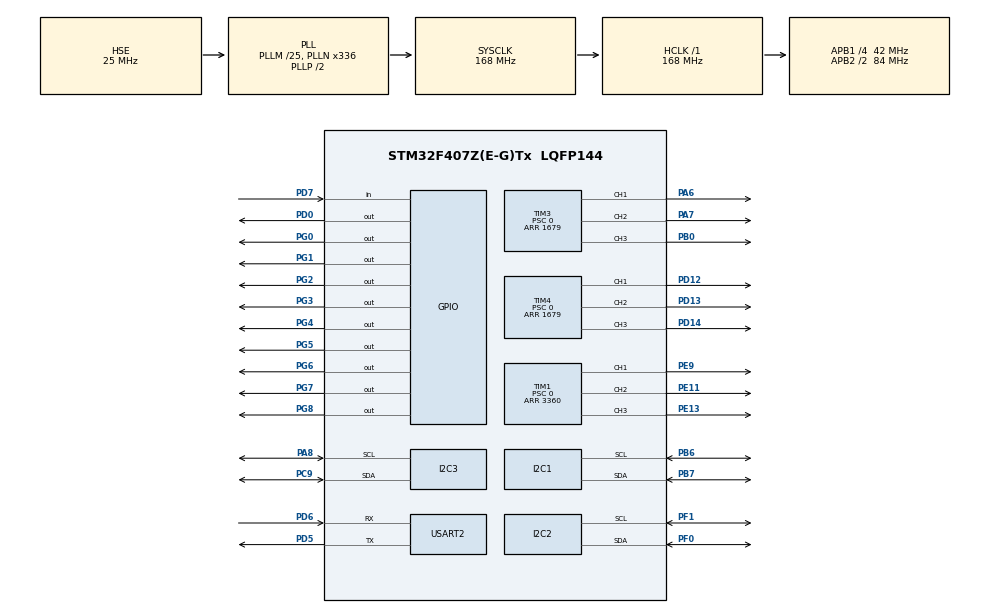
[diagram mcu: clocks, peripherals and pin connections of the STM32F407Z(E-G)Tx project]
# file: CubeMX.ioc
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I2C1.I2C_Mode=I2C_Fast
I2C2.I2C_Mode=I2C_Fast
I2C3.I2C_Mode=I2C_Fast
Mcu.Family=STM32F4
Mcu.Name=STM32F407Z(E-G)Tx
Mcu.Package=LQFP144
NVIC.PriorityGroup=NVIC_PRIORITYGROUP_4
NVIC.USART2_IRQn=true\:0\:0\:false\:false\:true\:true\:true\:true
PA13.Mode=Serial_Wire
PA13.Signal=SYS_JTMS-SWDIO
PA14.Mode=Serial_Wire
PA14.Signal=SYS_JTCK-SWCLK
PA6.Signal=S_TIM3_CH1
PA7.Signal=S_TIM3_CH2
PA8.GPIO_Pu=GPIO_PULLUP
PA8.GPIO_Speed=GPIO_SPEED_FREQ_LOW
PA8.Mode=I2C
PA8.Signal=I2C3_SCL
PB0.Signal=S_TIM3_CH3
PB6.GPIO_Pu=GPIO_PULLUP
PB6.GPIO_Speed=GPIO_SPEED_FREQ_LOW
PB6.Mode=I2C
PB6.Signal=I2C1_SCL
PB7.GPIO_Pu=GPIO_PULLUP
PB7.GPIO_Speed=GPIO_SPEED_FREQ_LOW
PB7.Mode=I2C
PB7.Signal=I2C1_SDA
PC9.GPIO_Pu=GPIO_PULLUP
PC9.GPIO_Speed=GPIO_SPEED_FREQ_LOW
PC9.Mode=I2C
PC9.Signal=I2C3_SDA
PD0.GPIO_Pu=GPIO_NOPULL
PD0.GPIO_Speed=GPIO_SPEED_FREQ_LOW
PD0.Signal=GPIO_Output
PD12.Signal=S_TIM4_CH1
PD13.Signal=S_TIM4_CH2
PD14.Signal=S_TIM4_CH3
PD5.Mode=Asynchronous
PD5.Signal=USART2_TX
PD6.Mode=Asynchronous
PD6.Signal=USART2_RX
PD7.Signal=GPIO_Input
PE11.Signal=S_TIM1_CH2
PE13.Signal=S_TIM1_CH3
PE9.Signal=S_TIM1_CH1
PF0.GPIO_Pu=GPIO_PULLUP
PF0.GPIO_Speed=GPIO_SPEED_FREQ_LOW
PF0.Mode=I2C
PF0.Signal=I2C2_SDA
PF1.GPIO_Pu=GPIO_PULLUP
PF1.GPIO_Speed=GPIO_SPEED_FREQ_LOW
PF1.Mode=I2C
PF1.Signal=I2C2_SCL
PG0.Signal=GPIO_Output
PG1.Signal=GPIO_Output
PG2.Signal=GPIO_Output
PG3.Signal=GPIO_Output
PG4.Signal=GPIO_Output
PG5.Signal=GPIO_Output
PG6.Signal=GPIO_Output
PG7.Signal=GPIO_Output
PG8.Signal=GPIO_Output
PH0-OSC_IN.Mode=HSE-External-Oscillator
PH0-OSC_IN.Signal=RCC_OSC_IN
PH1-OSC_OUT.Mode=HSE-External-Oscillator
PH1-OSC_OUT.Signal=RCC_OSC_OUT
ProjectManager.HeapSize=0x200
ProjectManager.StackSize=0x400
ProjectManager.TargetToolchain=MDK-ARM V5.32
RCC.48MHZClocksFreq_Value=84000000
RCC.AHBFreq_Value=168000000
RCC.APB1CLKDivider=RCC_HCLK_DIV4
RCC.APB1Freq_Value=42000000
RCC.APB1TimFreq_Value=84000000
RCC.APB2CLKDivider=RCC_HCLK_DIV2
RCC.APB2Freq_Value=84000000
RCC.APB2TimFreq_Value=168000000
RCC.CortexFreq_Value=168000000
RCC.HCLKFreq_Value=168000000
RCC.HSE_VALUE=25000000
RCC.HSI_VALUE=16000000
RCC.LSE_VALUE=32768
RCC.PLLM=25
RCC.PLLN=336
RCC.PLLSourceVirtual=RCC_PLLSOURCE_HSE
RCC.SYSCLKFreq_VALUE=168000000
RCC.SYSCLKSource=RCC_SYSCLKSOURCE_PLLCLK
RCC.VCOOutputFreq_Value=336000000
SH.S_TIM1_CH1.0=TIM1_CH1,PWM Generation1 CH1
SH.S_TIM1_CH2.0=TIM1_CH2,PWM Generation2 CH2
SH.S_TIM1_CH3.0=TIM1_CH3,PWM Generation3 CH3
SH.S_TIM3_CH1.0=TIM3_CH1,PWM Generation1 CH1
SH.S_TIM3_CH2.0=TIM3_CH2,PWM Generation2 CH2
SH.S_TIM3_CH3.0=TIM3_CH3,PWM Generation3 CH3
SH.S_TIM4_CH1.0=TIM4_CH1,PWM Generation1 CH1
SH.S_TIM4_CH2.0=TIM4_CH2,PWM Generation2 CH2
SH.S_TIM4_CH3.0=TIM4_CH3,PWM Generation3 CH3
TIM1.AutoReloadPreload=TIM_AUTORELOAD_PRELOAD_ENABLE
TIM1.Channel-PWM\ Generation1\ CH1=TIM_CHANNEL_1
TIM1.Channel-PWM\ Generation2\ CH2=TIM_CHANNEL_2
TIM1.Channel-PWM\ Generation3\ CH3=TIM_CHANNEL_3
TIM1.CounterMode=TIM_COUNTERMODE_CENTERALIGNED1
TIM1.Period=3360
TIM1.Prescaler=0
TIM3.AutoReloadPreload=TIM_AUTORELOAD_PRELOAD_ENABLE
TIM3.Channel-PWM\ Generation1\ CH1=TIM_CHANNEL_1
TIM3.Channel-PWM\ Generation2\ CH2=TIM_CHANNEL_2
TIM3.Channel-PWM\ Generation3\ CH3=TIM_CHANNEL_3
TIM3.CounterMode=TIM_COUNTERMODE_CENTERALIGNED1
TIM3.Period=1679
TIM3.Prescaler=0
TIM4.AutoReloadPreload=TIM_AUTORELOAD_PRELOAD_ENABLE
TIM4.Channel-PWM\ Generation1\ CH1=TIM_CHANNEL_1
TIM4.Channel-PWM\ Generation2\ CH2=TIM_CHANNEL_2
TIM4.Channel-PWM\ Generation3\ CH3=TIM_CHANNEL_3
TIM4.CounterMode=TIM_COUNTERMODE_CENTERALIGNED1
TIM4.Period=1679
TIM4.Prescaler=0
USART2.VirtualMode=VM_ASYNC
board=custom

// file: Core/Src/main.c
/* USER CODE BEGIN Header */
/**
  ******************************************************************************
  * @file           : main.c
  * @brief          : Main program body
  ******************************************************************************
  * @attention
  *
  * Copyright (c) 2026 STMicroelectronics.
  * All rights reserved.
  *
  * This software is licensed under terms that can be found in the LICENSE file
  * in the root directory of this software component.
  * If no LICENSE file comes with this software, it is provided AS-IS.
  *
  ******************************************************************************
  */
/* USER CODE END Header */
#include "main.h"
#include "i2c.h"
#include "tim.h"
#include "usart.h"
#include "gpio.h"

/* USER CODE BEGIN Includes */
#include <stdio.h>
#include <stdlib.h>
#include "MyProject.h"
/* USER CODE END Includes */

/* USER CODE BEGIN PV */
float target;       // SimpleFOC global target (sets all motors)
float target_m1;    // M1 individual target
float target_m2;    // M2 individual target
float target_m3;    // M3 individual target
uint32_t debug_timer;  // 调试输出计时
/* USER CODE END PV */

void SystemClock_Config(void);
/* USER CODE BEGIN PFP */
void commander_run(void);
/* USER CODE END PFP */

int main(void)
{

  /* MCU Configuration--------------------------------------------------------*/

  /* Reset of all peripherals, Initializes the Flash interface and the Systick. */
  HAL_Init();

  /* Configure the system clock */
  SystemClock_Config();

  /* Initialize all configured peripherals */
  MX_GPIO_Init();
  MX_USART2_UART_Init();
  MX_I2C2_Init();
  MX_I2C1_Init();
  MX_I2C3_Init();
  MX_TIM3_Init();
  MX_TIM4_Init();
  MX_TIM1_Init();
  /* USER CODE BEGIN 2 */
	printf("\r\n--- STM32F407 System Clock: %ld Hz ---\r\n", HAL_RCC_GetHCLKFreq());
	printf("--- APB1 Timer Clock: %ld Hz ---\r\n", HAL_RCC_GetPCLK1Freq() * 2);
	printf("--- APB2 Timer Clock: %ld Hz ---\r\n", HAL_RCC_GetPCLK2Freq() * 2);

	/* 初始化SimpleFOC相关硬件 */
	/* TIM1 configured by MX_TIM1_Init() */
	TIM6_1ms_Init();           // 1ms定时器中断

	delay_ms(1000);            // 等待系统稳定

	/* SimpleFOC参数配置 */
	voltage_power_supply = 12.0f;   // V
	voltage_limit = 2.5f;           // V，最大值需小于12/1.732=6.9
	velocity_limit = 20.0f;         // rad/s
	controller = Type_velocity_openloop;
	pole_pairs = 7;                 // 极对数

	M1_Enable;                      // 使能DRV8313-1
	M2_Enable;                      // 使能DRV8313-2
	M3_Enable;                      // 使能DRV8313-3
	printf("3 motors ready.\r\n");

	systick_CountMode();            // SysTick循环计数模式(不能再调用delay_us/ms和HAL_Delay)
	target = 1.0f;                  // 上电后以 1 rad/s 转动
	target_m1 = target;
	target_m2 = target;
	target_m3 = target;

	/* 启动TIM3/TIM4 PWM输出 */
	HAL_TIM_PWM_Start(&htim3, TIM_CHANNEL_1);
	HAL_TIM_PWM_Start(&htim3, TIM_CHANNEL_2);
	HAL_TIM_PWM_Start(&htim3, TIM_CHANNEL_3);
	HAL_TIM_PWM_Start(&htim4, TIM_CHANNEL_1);
	HAL_TIM_PWM_Start(&htim4, TIM_CHANNEL_2);
	HAL_TIM_PWM_Start(&htim4, TIM_CHANNEL_3);
  /* USER CODE END 2 */

  /* Infinite loop */
  /* USER CODE BEGIN WHILE */
	while(1)
 {
 		if(time1_cntr >= 200)  // 0.2s LED闪烁
 		{
 			time1_cntr = 0;
			HAL_GPIO_TogglePin(GPIOG, GPIO_PIN_0);  // PG0 LED
			HAL_GPIO_TogglePin(GPIOG, GPIO_PIN_1);  // PG1 → M2 工作指示
			HAL_GPIO_TogglePin(GPIOG, GPIO_PIN_2);  // PG2 → M3 工作指示
 			debug_timer++;
 			/* 每1秒打印一次状态 */
			if(debug_timer >= 5)
			{
				debug_timer = 0;
				printf("M1:%.3f[%lu %lu %lu]  M2:%.3f[%lu %lu %lu]  M3:%.3f[%lu %lu %lu]  Vq=%.2f\r\n",
					shaft_angle[0],
					TIM1->CCR1, TIM1->CCR2, TIM1->CCR3,
					shaft_angle[1],
					TIM3->CCR1, TIM3->CCR2, TIM3->CCR3,
					shaft_angle[2],
					TIM4->CCR1, TIM4->CCR2, TIM4->CCR3,
					voltage_limit);
			}
		}
		move(target_m1, 0);   // M1
		move(target_m2, 1);   // M2
		move(target_m3, 2);   // M3
		commander_run();
	}

    /* USER CODE END WHILE */

}

void SystemClock_Config(void)
{
  RCC_OscInitTypeDef RCC_OscInitStruct = {0};
  RCC_ClkInitTypeDef RCC_ClkInitStruct = {0};

  /** Configure the main internal regulator output voltage
  */
  __HAL_RCC_PWR_CLK_ENABLE();
  __HAL_PWR_VOLTAGESCALING_CONFIG(PWR_REGULATOR_VOLTAGE_SCALE1);

  /** Initializes the RCC Oscillators according to the specified parameters
  * in the RCC_OscInitTypeDef structure.
  */
  RCC_OscInitStruct.OscillatorType = RCC_OSCILLATORTYPE_HSE;
  RCC_OscInitStruct.HSEState = RCC_HSE_ON;
  RCC_OscInitStruct.PLL.PLLState = RCC_PLL_ON;
  RCC_OscInitStruct.PLL.PLLSource = RCC_PLLSOURCE_HSE;
  RCC_OscInitStruct.PLL.PLLM = 25;
  RCC_OscInitStruct.PLL.PLLN = 336;
  RCC_OscInitStruct.PLL.PLLP = RCC_PLLP_DIV2;
  RCC_OscInitStruct.PLL.PLLQ = 4;
  if (HAL_RCC_OscConfig(&RCC_OscInitStruct) != HAL_OK)
  {
    Error_Handler();
  }

  /** Initializes the CPU, AHB and APB buses clocks
  */
  RCC_ClkInitStruct.ClockType = RCC_CLOCKTYPE_HCLK|RCC_CLOCKTYPE_SYSCLK
                              |RCC_CLOCKTYPE_PCLK1|RCC_CLOCKTYPE_PCLK2;
  RCC_ClkInitStruct.SYSCLKSource = RCC_SYSCLKSOURCE_PLLCLK;
  RCC_ClkInitStruct.AHBCLKDivider = RCC_SYSCLK_DIV1;
  RCC_ClkInitStruct.APB1CLKDivider = RCC_HCLK_DIV4;
  RCC_ClkInitStruct.APB2CLKDivider = RCC_HCLK_DIV2;

  if (HAL_RCC_ClockConfig(&RCC_ClkInitStruct, FLASH_LATENCY_5) != HAL_OK)
  {
    Error_Handler();
  }
}

/* USER CODE BEGIN 4 */
/******************************************************************************/
/* 串口命令解析 (来自原F1项目的loop222) */
void commander_run(void)
{
	if((USART_RX_STA & 0x8000) != 0)
	{
		switch(USART_RX_BUF[0])
		{
			case 'H':
				printf("--- SimpleFOC 3-Motor Control ---\r\n"
				       "H          Help\r\n"
				       "U<val>     Set voltage_limit (all motors) [curr=%.2f]\r\n"
				       "T<val>     Set target for ALL motors    [curr=%.2f]\r\n"
				       "1<val>     Set target for M1            [curr=%.2f]\r\n"
				       "2<val>     Set target for M2            [curr=%.2f]\r\n"
				       "3<val>     Set target for M3            [curr=%.2f]\r\n"
				       "Example: T6.28  or  12.5  or  3-3.14\r\n",
				       voltage_limit, target, target_m1, target_m2, target_m3);
				break;
			case 'U':   // U5.0 - set voltage_limit
				voltage_limit = atof((const char *)(USART_RX_BUF + 1));
				printf("voltage_limit=%.4f\r\n", voltage_limit);
				break;
			case 'T':   // T6.28  — 设置所有电机目标速度
				target = atof((const char *)(USART_RX_BUF + 1));
				target_m1 = target;
				target_m2 = target;
				target_m3 = target;
				printf("ALL target=%.4f  (M1/M2/M3)\r\n", target);
				break;
			case '1':   // 1-5.0  — M1 目标速度
				target_m1 = atof((const char *)(USART_RX_BUF + 1));
				printf("M1 target=%.4f\r\n", target_m1);
				break;
			case '2':   // 23.14  — M2 目标速度
				target_m2 = atof((const char *)(USART_RX_BUF + 1));
				printf("M2 target=%.4f\r\n", target_m2);
				break;
			case '3':   // 3-10.0 — M3 目标速度
				target_m3 = atof((const char *)(USART_RX_BUF + 1));
				printf("M3 target=%.4f\r\n", target_m3);
				break;
		}
		USART_RX_STA = 0;
	}
}
/******************************************************************************/
/* USER CODE END 4 */

void Error_Handler(void)
{
  __disable_irq();
  while (1)
  {
  }
}
